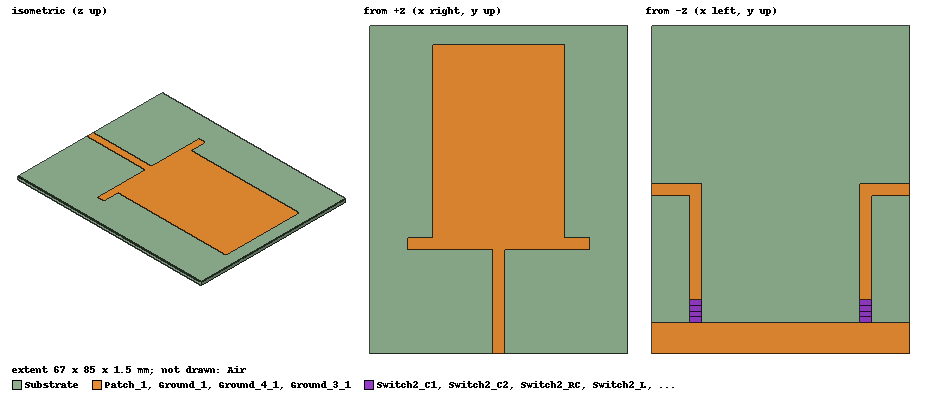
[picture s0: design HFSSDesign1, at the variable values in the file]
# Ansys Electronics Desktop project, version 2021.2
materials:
  vacuum: permittivity=1
  FR4_epoxy: permittivity=4.4 dielectric_loss_tangent=0.02
  air: permittivity=1.0006 permeability=1.0000004

design HFSSDesign1 (HFSS, DrivenTerminal, model units mm)
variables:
  d = 1.5mm
  l1 = 22mm  # optimise 7mm..14mm
  w1 = 3mm  # optimise 3mm..8mm
  l2 = 50mm  # optimise 3mm..8mm
  w2 = 34mm  # optimise 4mm..8mm
  l3 = 3.5mm
  ls = 27mm
  ws = 3mm
  lg = 8mm
  lg1 = 10.5mm
  lg2 = 4mm
  wg = 1mm
  l = 85mm
  w = 67mm
  lr = 30mm
  wr = 3mm
  lr2 = 10mm
  gap = 0mm
  gap2 = switch_length
  gap1 = switch_length
  switch_length = 6mm
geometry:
  Substrate [FR4_epoxy] = box(corner=(0mm, 0mm, 0mm), size=(w, l, d))
  Patch_1 = rectangle(corner=(w/2-ws/2, 0mm, d), x_size=ws, y_size=ls)
  Patch_2 = rectangle(corner=(w/2-(l1+ws+l1)/2, ls, d), x_size=l1+ws+l1, y_size=w1)
  Patch_3 = rectangle(corner=(w/2-w2/2, ls+w1, d), x_size=w2, y_size=l2)
  Ground_1 = rectangle(corner=(0mm, 0mm, 0mm), x_size=w, y_size=lg)
  Ground_3 = rectangle(corner=(lr2, gap1+lg, 0mm), x_size=wr, y_size=lr)
  Ground_3_1 = rectangle(corner=(0, gap1+lg+lr-wr, 0mm), x_size=lr2, y_size=wr)
  Ground_4 = rectangle(corner=(w-lr2-wr, gap2+lg, 0mm), x_size=wr, y_size=lr)
  Ground_4_1 = rectangle(corner=(w-lr2, gap2+lg+lr-wr, 0mm), x_size=lr2, y_size=wr)
  Patch_1.unite(Patch_2, Patch_3)
  Source = rectangle(corner=(w/2-lr2/2, 0mm, d), z_size=-d, x_size=lr2)
  Air [air] = box(corner=(-w/2, -l/2, -d*10), size=(w*2, l*2, d*20))
  Ground_3_1.unite(Ground_3)
  Ground_4_1.unite(Ground_4)
  Switch1_C1 = rectangle(corner=(lr2, lg, 0mm), x_size=wr, y_size=switch_length/4)
  Switch1_C2 = rectangle(corner=(lr2, lg+(3*switch_length/4), 0mm), x_size=wr, y_size=switch_length/4)
  Switch1_RC = rectangle(corner=(lr2, lg+(2*switch_length/4), 0mm), x_size=wr, y_size=switch_length/4)
  Switch1_L = rectangle(corner=(lr2, lg+(1*switch_length/4), 0mm), x_size=wr, y_size=switch_length/4)
  Switch2_C1 = rectangle(corner=(w-wr-lr2, lg, 0mm), x_size=wr, y_size=switch_length/4)
  Switch2_C2 = rectangle(corner=(w-wr-lr2, lg+(3*switch_length/4), 0mm), x_size=wr, y_size=switch_length/4)
  Switch2_RC = rectangle(corner=(w-wr-lr2, lg+(2*switch_length/4), 0mm), x_size=wr, y_size=switch_length/4)
  Switch2_L = rectangle(corner=(w-wr-lr2, lg+(1*switch_length/4), 0mm), x_size=wr, y_size=switch_length/4)
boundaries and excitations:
  PerfE_Ground: Perfect E Objects=Ground_1
  PerfE_Patch: Perfect E Objects=Patch_1
  Radiation: Radiation Faces=Air.face(all 6)
  PerfE_Ground_Arm1: Perfect E Objects=Ground_3_1
  PerfE_Ground_Arm2: Perfect E Objects=Ground_4_1
  Switch1_C1: Lumped RLC Objects=Switch1_C1 CurrentLine{middle of Switch1_C1.edge(y opposite corner) -> middle of Switch1_C1.edge(y at corner)} RLC_Type=Parallel Capacitance=47pF
  Switch1_C2: Lumped RLC Objects=Switch1_C2 CurrentLine{middle of Switch1_C2.edge(y opposite corner) -> middle of Switch1_C2.edge(y at corner)} RLC_Type=Parallel Capacitance=47pF
  Switch1_L: Lumped RLC Objects=Switch1_L CurrentLine{middle of Switch1_L.edge(y opposite corner) -> middle of Switch1_L.edge(y at corner)} RLC_Type=Parallel Inductance=0.6nH
  Switch1_RC: Lumped RLC Objects=Switch1_RC CurrentLine{middle of Switch1_RC.edge(y opposite corner) -> middle of Switch1_RC.edge(y at corner)} RLC_Type=Parallel Resistance=5000ohm Capacitance=0.15pF
  Switch2_C1: Lumped RLC Objects=Switch2_C1 CurrentLine{middle of Switch2_C1.edge(y opposite corner) -> middle of Switch2_C1.edge(y at corner)} RLC_Type=Parallel Capacitance=400pF
  Switch2_C2: Lumped RLC Objects=Switch2_C2 CurrentLine{middle of Switch2_C2.edge(y opposite corner) -> middle of Switch2_C2.edge(y at corner)} RLC_Type=Parallel Capacitance=400pF
  Switch2_L: Lumped RLC Objects=Switch2_L CurrentLine{middle of Switch2_L.edge(y opposite corner) -> middle of Switch2_L.edge(y at corner)} RLC_Type=Parallel Inductance=0.6nH
  Switch2_RC: Lumped RLC Objects=Switch2_RC CurrentLine{middle of Switch2_RC.edge(y opposite corner) -> middle of Switch2_RC.edge(y at corner)} RLC_Type=Parallel Resistance=5000ohm Capacitance=0.15pF
  Patch_1_T1: Terminal port=P1 Edges=Patch_1.edge(y at corner) TerminalResistance=50ohm
  P1: Lumped Port Faces=Source.face Impedance=50ohm
  reference conductors: Ground_1
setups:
  Setup1: HfssDriven Frequency=0.9GHz MaxDeltaS=0.02 MaximumPasses=20 MinimumPasses=1 MinimumConvergedPasses=1 PercentRefinement=30 BasisOrder=1 PortAccuracy=2
    sweep Sweep: 0.7GHz to 1.1GHz step 0.005GHz; Type=Interpolating InterpTolerance=0.5 InterpMaxSolns=250 PassivityErrorTolerance=0.0001
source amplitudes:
  P1:1: 1V 0deg
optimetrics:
  ParametricSetup1: Parametric disabled Sim._Setups=[Setup1]
    sweep lr2: LIN 3mm 20mm 1mm
  OptimizationSetup1: Optimization disabled Optimizer="Quasi Newton" AnalysisStopOptions{StopForNumIteration MaxNumIteration=1000 MinNumIteration=10} CostFuncNormType=L2 Acceptable_Cost=0 Noise=0.0001 UpdateDesignWhenDone
    vary l1: Min=7mm Max=14mm MinStep=0.0505mm MaxStep=0.505mm MinFocus=7mm MaxFocus=14mm start=10mm
    vary l2: Min=3mm Max=8mm MinStep=0.06mm MaxStep=0.6mm MinFocus=3mm MaxFocus=8mm start=5mm
    vary w1: Min=3mm Max=8mm MinStep=0.01mm MaxStep=0.1mm MinFocus=3mm MaxFocus=8mm start=5mm
    vary w2: Min=4mm Max=8mm MinStep=0.07mm MaxStep=0.7mm MinFocus=4mm MaxFocus=8mm start=6mm
    goal dB(St(Patch_1_T1,Patch_1_T1)) <= -25 weight 1 on Setup1 : Sweep at Freq 0.8GHz to 1GHz
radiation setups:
  Infinite Sphere1: Infinite Sphere Theta=-180deg..180deg step 1deg Phi=0deg..360deg step 1deg
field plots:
  Mag_Jsurf1: Jsurf over Ground_1.face Ground_3_1.face(at (5, 42.5, 0)) Ground_4_1.face(at (62, 42.5, 0)) on Setup1 : LastAdaptive at Freq=0.9GHz Phase=0deg
  Vector_E1: E Field over Patch_1.face(at (33.5, 13.5, 1.5)) on Setup1 : LastAdaptive at Freq=0.9GHz Phase=0deg
  Vector_E2: E Field over Ground_1.face on Setup1 : LastAdaptive at Freq=0.9GHz Phase=0deg
  Mag_Jsurf2: Jsurf over Patch_1.face(at (33.5, 13.5, 1.5)) on Setup1 : LastAdaptive at Freq=0.9GHz Phase=0deg
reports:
  rE Plot 1: mag(rETotal) vs Phi, Theta on Setup1 : LastAdaptive, Infinite Sphere1 [Freq=0.9GHz]
  rE Plot 3: dB(rETotal) vs Phi on Setup1 : LastAdaptive, Infinite Sphere1 [Theta=0deg Freq=all]
  Terminal S Parameter Plot 2: dB(St(Patch_1_T1,Patch_1_T1)) vs Freq on Setup1 : Sweep [d=all l1=all w1=all l2=all w2=all ls=all ws=all lg=all l=all w=all lr=all wr=all lr2=all]
  rE Plot 4: mag(rETotal) vs Theta on Setup1 : LastAdaptive, Infinite Sphere1 [Phi=all Freq=0.9GHz]
